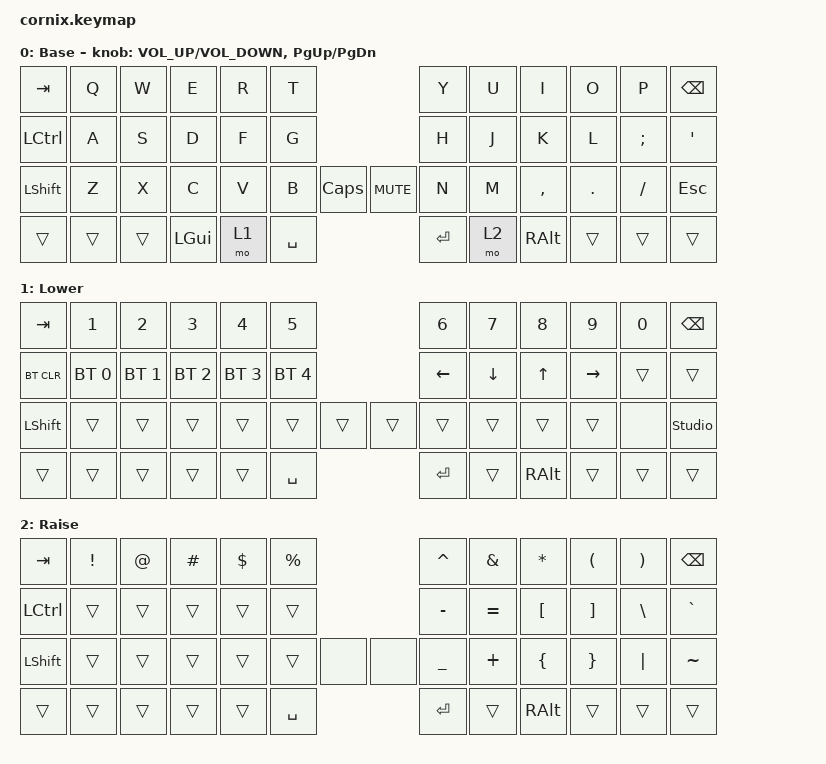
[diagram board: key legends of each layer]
/*
 * Copyright (c) 2024 The ZMK Contributors
 *
 * SPDX-License-Identifier: MIT
 */

#include <behaviors.dtsi>
#include <dt-bindings/zmk/bt.h>
#include <dt-bindings/zmk/keys.h>

/ {
    keymap {
        compatible = "zmk,keymap";

        default_layer {
            display-name = "Base";
            // -----------------------------------------------------------------------------------------
            // |  TAB |  Q  |  W  |  E  |  R  |  T  |      |   |      |  Y  |  U  |  I  |  O  |  P  | BKSP |
            // | CTRL |  A  |  S  |  D  |  F  |  G  |      |   |      |  H  |  J  |  K  |  L  |  ;  |  '   |
            // | SHFT |  Z  |  X  |  C  |  V  |  B  |      |   |      |  N  |  M  |  ,  |  .  |  /  | ESC  |
            //                    | GUI | LWR | SPC | SPC2 |   | ENT2 | ENT | RSE | ALT |

            bindings = <
&kp TAB    &kp Q   &kp W   &kp E     &kp R  &kp T                                &kp Y    &kp U  &kp I      &kp O    &kp P     &kp BSPC
&kp LCTRL  &kp A   &kp S   &kp D     &kp F  &kp G                                &kp H    &kp J  &kp K      &kp L    &kp SEMI  &kp SQT
&kp LSHFT  &kp Z   &kp X   &kp C     &kp V  &kp B      &kp CAPSLOCK  &kp K_MUTE  &kp N    &kp M  &kp COMMA  &kp DOT  &kp FSLH  &kp ESC
&trans     &trans  &trans  &kp LGUI  &mo 1  &kp SPACE                            &kp RET  &mo 2  &kp RALT   &trans   &trans    &trans
            >;

            sensor-bindings =
                <&inc_dec_kp C_VOLUME_UP C_VOLUME_DOWN>,
                <&inc_dec_kp PAGE_UP PAGE_DOWN>;
        };

        lower_layer {
            display-name = "Lower";
            // -----------------------------------------------------------------------------------------
            // |  TAB |  1  |  2  |  3  |  4  |  5  |      |   |      |  6  |  7  |  8  |  9  |  0  | BKSP |
            // | BTCLR| BT1 | BT2 | BT3 | BT4 | BT5 |      |   |      | LFT | DWN |  UP | RGT |     |      |
            // | SHFT |     |     |     |     |     |      |   |      |     |     |     |     |     |      |
            //                    | GUI |     | SPC | SPC2 |   | ENT2 | ENT |     | ALT |

            bindings = <
&kp TAB     &kp N1        &kp N2        &kp N3        &kp N4        &kp N5                        &kp N6    &kp N7    &kp N8    &kp N9     &kp N0  &kp BSPC
&bt BT_CLR  &bt BT_SEL 0  &bt BT_SEL 1  &bt BT_SEL 2  &bt BT_SEL 3  &bt BT_SEL 4                  &kp LEFT  &kp DOWN  &kp UP    &kp RIGHT  &trans  &trans
&kp LSHFT   &trans        &trans        &trans        &trans        &trans        &trans  &trans  &trans    &trans    &trans    &trans     &none   &studio_unlock
&trans      &trans        &trans        &trans        &trans        &kp SPACE                     &kp RET   &trans    &kp RALT  &trans     &trans  &trans
            >;
        };

        raise_layer {
            display-name = "Raise";
            // -----------------------------------------------------------------------------------------
            // |  TAB |  !  |  @  |  #  |  $  |  %  |      |   |      |  ^  |  &  |  *  |  (  |  )  | BKSP |
            // | CTRL |     |     |     |     |     |      |   |      |  -  |  =  |  [  |  ]  |  \  |  `   |
            // | SHFT |     |     |     |     |     |      |   |      |  _  |  +  |  {  |  }  |  |  |  ~   |
            //                    | GUI |     | SPC | SPC2 |   | ENT2 | ENT |     | ALT |

            bindings = <
&kp TAB    &kp EXCL  &kp AT  &kp HASH  &kp DLLR  &kp PRCNT                &kp CARET  &kp AMPS   &kp ASTERISK  &kp LPAR  &kp RPAR  &kp BSPC
&kp LCTRL  &trans    &trans  &trans    &trans    &trans                   &kp MINUS  &kp EQUAL  &kp LBKT      &kp RBKT  &kp BSLH  &kp GRAVE
&kp LSHFT  &trans    &trans  &trans    &trans    &trans     &none  &none  &kp UNDER  &kp PLUS   &kp LBRC      &kp RBRC  &kp PIPE  &kp TILDE
&trans     &trans    &trans  &trans    &trans    &kp SPACE                &kp RET    &trans     &kp RALT      &trans    &trans    &trans
            >;
        };

        // Extra layers reserved for use in ZMK Studio
        extra1 {
            status = "reserved";
        };
        extra2 {
            status = "reserved";
        };
    };
};
